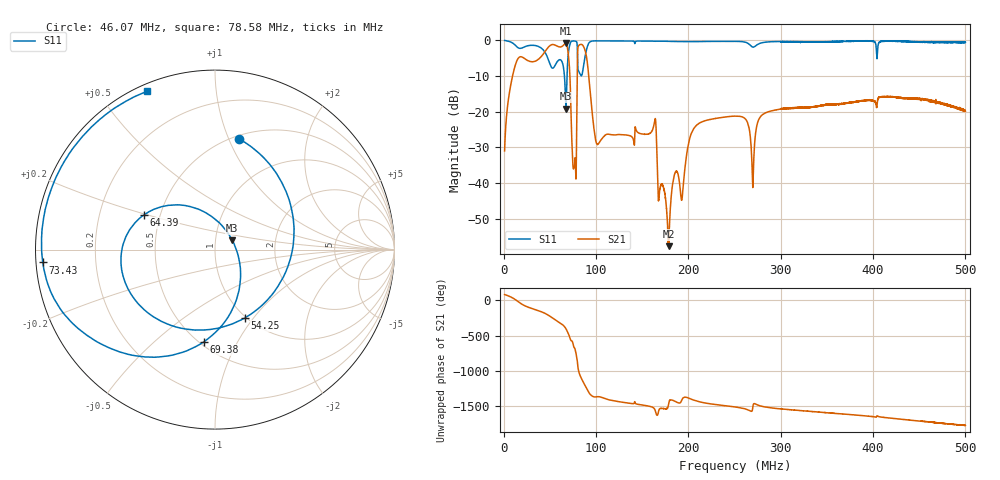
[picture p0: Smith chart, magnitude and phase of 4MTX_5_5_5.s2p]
! NanoVNA-App
! Date: 2026-08-18 20:48:40
! Start: 1MHz Stop: 500MHz Points: 6401
! S-Parameter data: F S11 S21 S12 S22
# Hz S RI R 50
!  Frequency  S11_Real  S11_Imag  S21_Real  S21_Imag  S12_Real  S12_Imag  S22_Real  S22_Imag
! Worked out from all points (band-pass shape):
!   6401 points, 1 MHz to 500 MHz, reference 50 ohm
!   highest |S21| = -0.88 dB at 67.12 MHz (marker M1); lowest = -57.6 dB at 178.5 MHz (marker M2)
!   |S21| within 3 dB of the highest: 42.89 MHz to 69.95 MHz (27.07 MHz wide, 48 % of centre); 80 MHz to 89.12 MHz (9.123 MHz wide, 10.8 % of centre)
!   lowest |S11| = -19.2 dB at 67.43 MHz (marker M3), VSWR 1.25, Z = 60.3 + j6.34 ohm
!   |S11| at or under -10 dB: 65.78 MHz to 68.57 MHz (2.79 MHz wide, 4.15 % of centre)
!   S12 and S22 are empty: the file has one direction only
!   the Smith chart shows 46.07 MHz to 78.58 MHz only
!   S11 on the Smith chart (normalised r, x): 46.07 MHz: 0.54, +1.09; 54.25 MHz: 0.99, -0.91; 64.39 MHz: 0.41, +0.20; 69.38 MHz: 0.53, -0.74; 73.43 MHz: 0.02, -0.04; 78.58 MHz: 0.03, +0.66
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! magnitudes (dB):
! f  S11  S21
! 1 MHz  -0.1  -31.0
! 14.49 MHz  -1.9  -5.6
! 46.07 MHz  -4.0  -2.7
! 54.25 MHz  -7.6  -1.3
! 64.39 MHz  -7.1  -1.5
! 67.12 MHz  -17.7  -0.9
! 67.43 MHz  -19.2  -0.9
! 69.38 MHz  -5.7  -2.7
! 73.43 MHz  -0.3  -25.1
! 76.4 MHz  -0.2  -35.5
! 78.58 MHz  -0.4  -35.8
! 84.19 MHz  -10.0  -1.2
! 101.1 MHz  -0.2  -29.1
! 162.8 MHz  -0.3  -23.6
! 167.4 MHz  -0.3  -44.0
! 178.5 MHz  -0.3  -57.6
! 205.8 MHz  -0.4  -24.8
! 250.5 MHz  -0.3  -21.3
! 269.8 MHz  -2.0  -41.2
! 333.7 MHz  -0.5  -18.7
! 416.9 MHz  -0.3  -15.8
! 500 MHz  -0.6  -19.9
